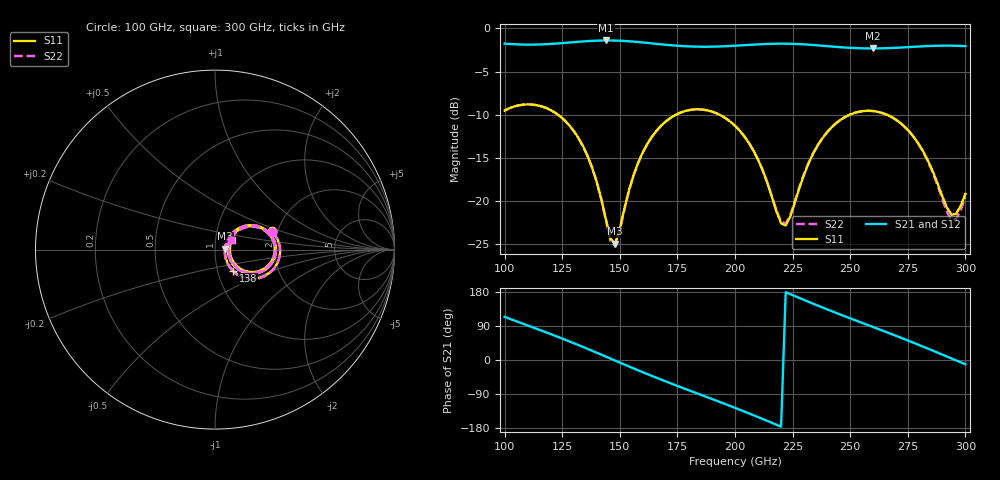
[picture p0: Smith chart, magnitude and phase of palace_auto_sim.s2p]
#  GHZ S DB R 50
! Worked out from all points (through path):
!   101 points, 100 GHz to 300 GHz, reference 50 ohm
!   highest |S21| = -1.39 dB at 144 GHz (marker M1); lowest = -2.3 dB at 260 GHz (marker M2)
!   group delay of S21, straight-line fit = 6.75 ps
!   lowest |S11| = -24.9 dB at 148 GHz (marker M3), VSWR 1.12, Z = 56 + j0.539 ohm
!   |S11| at or under -10 dB: 123.1 GHz to 174.3 GHz (51.2 GHz wide, 34.4 % of centre); 193.3 GHz to 249.8 GHz (56.49 GHz wide, 25.5 % of centre); 266 GHz to end of sweep
!   |S22| runs from -25.2 to -8.8 dB; largest |S21 - S12| = 1.4e-13
!   S11 on the Smith chart (normalised r, x): 100 GHz: 1.87, +0.43; 138 GHz: 1.19, -0.29; 300 GHz: 1.20, +0.13
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100  -9.51 17.7  -1.76 113.8  -1.76 113.8  -9.51 17.1
110  -8.80 -1.6  -1.88 91.1  -1.88 91.1  -8.80 -2.1
118  -9.22 -17.1  -1.83 72.9  -1.83 72.9  -9.21 -17.6
134  -13.64 -45.6  -1.51 34.4  -1.51 34.4  -13.64 -46.4
138  -16.14 -49.5  -1.44 24.3  -1.44 24.3  -16.16 -50.4
144  -22.16 -38.9  -1.39 8.8  -1.39 8.8  -22.29 -40.3
146  -24.39 -21.6  -1.40 3.6  -1.40 3.6  -24.62 -22.8
148  -24.94 4.9  -1.41 -1.6  -1.41 -1.6  -25.23 4.6
158  -15.53 42.8  -1.58 -27.3  -1.58 -27.3  -15.57 43.0
168  -11.25 28.6  -1.84 -51.9  -1.84 -51.9  -11.26 28.6
184  -9.37 -0.6  -2.11 -89.1  -2.11 -89.1  -9.38 -0.7
200  -11.27 -28.6  -2.00 -126.3  -2.00 -126.3  -11.28 -28.7
212  -16.43 -41.0  -1.82 -155.7  -1.82 -155.7  -16.42 -40.7
220  -22.58 -13.0  -1.77 -176.0  -1.77 -176.0  -22.39 -12.7
222  -22.84 5.5  -1.77 178.8  -1.77 178.8  -22.61 5.3
234  -14.46 38.8  -1.92 148.4  -1.92 148.4  -14.41 37.8
246  -10.56 21.6  -2.18 119.3  -2.18 119.3  -10.54 20.6
260  -9.57 -3.3  -2.32 86.8  -2.32 86.8  -9.57 -4.4
268  -10.27 -17.3  -2.27 68.2  -2.27 68.2  -10.28 -18.6
280  -13.50 -34.7  -2.09 39.2  -2.09 39.2  -13.56 -36.6
294  -21.59 -6.1  -2.00 3.9  -2.00 3.9  -22.20 -7.5
300  -19.17 29.6  -2.05 -11.3  -2.05 -11.3  -19.52 31.0
